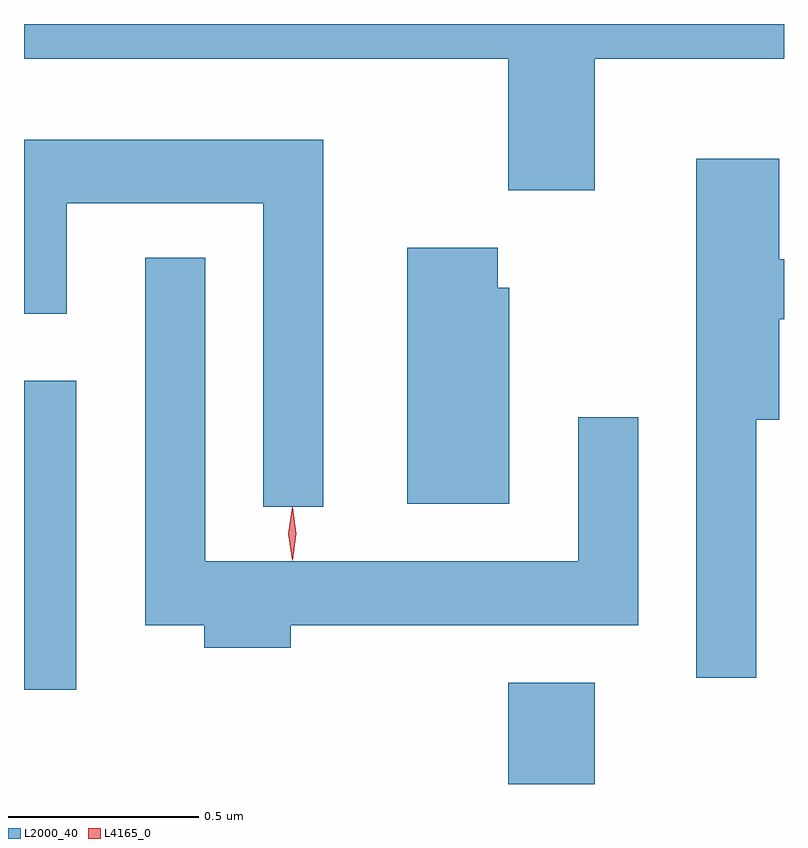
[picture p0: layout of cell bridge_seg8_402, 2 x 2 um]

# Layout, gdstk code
import gdstk
lib = gdstk.Library(unit=1e-6, precision=1e-09)
def R(c, l, rs):  # rectangles x0, y0, x1, y1
    for r in rs: c.add(gdstk.rectangle(r[:2], r[2:], *l))
def P(c, l, *ps):  # polygons
    for p in ps: c.add(gdstk.Polygon(p, *l))
L2000_40 = (2000, 40)
L4165_0 = (4165, 0)

bridge_seg8_402 = lib.new_cell('bridge_seg8_402')
R(bridge_seg8_402, L2000_40, [(742.401,1925.528,742.629,1925.794), (741.127,1925.776,741.264,1926.589)])
P(bridge_seg8_402, L2000_40, [(742.629,1927.436),(743.127,1927.436),(743.127,1927.528),(741.127,1927.528),(741.127,1927.436),(742.401,1927.436),(742.401,1927.091),(742.629,1927.091)],
  [(741.914,1927.224),(741.127,1927.224),(741.127,1926.766),(741.239,1926.766),(741.239,1927.056),(741.756,1927.056),(741.756,1926.258),(741.914,1926.258)],
  [(743.054,1926.486),(743.114,1926.486),(743.114,1926.751),(743.127,1926.751),(743.127,1926.909),(743.114,1926.909),(743.114,1927.174),(742.896,1927.174),(742.896,1925.808),(743.054,1925.808)],
  [(742.404,1926.834),(742.374,1926.834),(742.374,1926.939),(742.136,1926.939),(742.136,1926.266),(742.404,1926.266)],
  [(741.829,1925.946),(742.744,1925.946),(742.744,1926.493),(742.586,1926.493),(742.586,1926.114),(741.604,1926.114),(741.604,1926.913),(741.446,1926.913),(741.446,1925.946),(741.601,1925.946),(741.601,1925.886),(741.829,1925.886)])
P(bridge_seg8_402, L4165_0, [(741.833,1926.117),(741.823,1926.187),(741.833,1926.256),(741.834,1926.256),(741.834,1926.256),(741.844,1926.187),(741.834,1926.117),(741.834,1926.117)])

lib.write_gds('bridge_seg8_402.gds')
